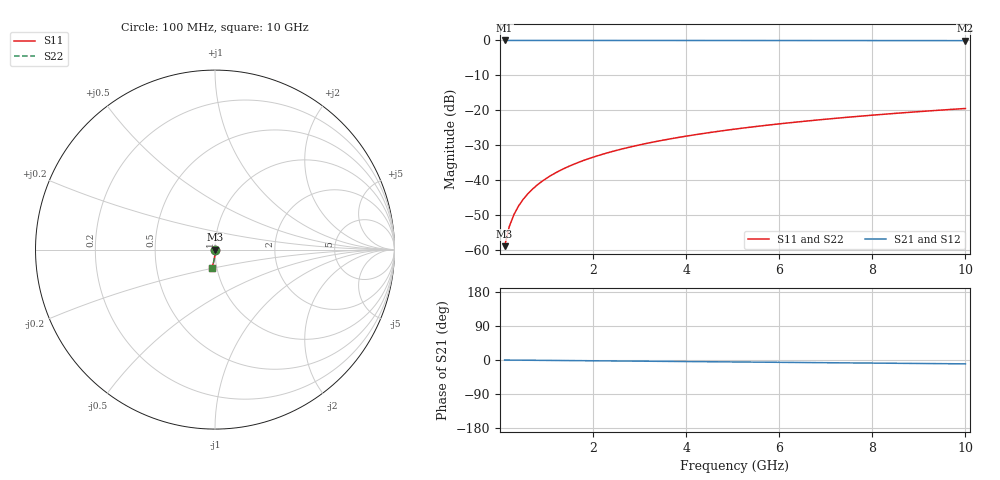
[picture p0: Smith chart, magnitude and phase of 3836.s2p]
# Hz S RI R 50.00
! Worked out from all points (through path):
!   100 points, 100 MHz to 10 GHz, reference 50 ohm
!   highest |S21| = 0.00 dB at 100 MHz (marker M1); lowest = -0.1 dB at 10 GHz (marker M2)
!   group delay of S21, straight-line fit = 2.83 ps
!   lowest |S11| = -58.8 dB at 100 MHz (marker M3), VSWR 1.00, Z = 50 - j0.107 ohm
!   |S11| at or under -10 dB: start of sweep to end of sweep
!   |S22| runs from -58.8 to -19.4 dB; largest |S21 - S12| = 0
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1e8  0.000408 -0.00107  0.9996 -0.00178  0.9996 -0.00178  0.000408 -0.00107
2e8  0.000404 -0.00215  0.9996 -0.00355  0.9996 -0.00355  0.000404 -0.00215
3e8  0.000395 -0.00322  0.9996 -0.00533  0.9996 -0.00533  0.000395 -0.00322
4e8  0.000382 -0.00429  0.9995 -0.0071  0.9995 -0.0071  0.000382 -0.00429
5e8  0.000365 -0.00536  0.9995 -0.00888  0.9995 -0.00888  0.000365 -0.00536
6e8  0.000344 -0.00643  0.9995 -0.0107  0.9995 -0.0107  0.000344 -0.00643
7e8  0.000319 -0.00751  0.9995 -0.0124  0.9995 -0.0124  0.000319 -0.00751
8e8  0.00029 -0.00858  0.9994 -0.0142  0.9994 -0.0142  0.00029 -0.00858
9e8  0.000257 -0.00965  0.9994 -0.016  0.9994 -0.016  0.000257 -0.00965
1.1e9  0.00018 -0.0118  0.9993 -0.0195  0.9993 -0.0195  0.00018 -0.0118
1.4e9  3.55e-05 -0.015  0.9991 -0.0249  0.9991 -0.0249  3.55e-05 -0.015
1.8e9  -0.000211 -0.0193  0.9988 -0.0319  0.9988 -0.0319  -0.000211 -0.0193
2.1e9  -0.000435 -0.0225  0.9986 -0.0373  0.9986 -0.0373  -0.000435 -0.0225
2.5e9  -0.000788 -0.0268  0.9982 -0.0444  0.9982 -0.0444  -0.000788 -0.0268
2.9e9  -0.0012 -0.0311  0.9977 -0.0514  0.9977 -0.0514  -0.0012 -0.0311
3.4e9  -0.00181 -0.0364  0.997 -0.0603  0.997 -0.0603  -0.00181 -0.0364
4.2e9  -0.00297 -0.0449  0.9957 -0.0744  0.9957 -0.0744  -0.00297 -0.0449
5.1e9  -0.00456 -0.0544  0.9939 -0.0903  0.9939 -0.0903  -0.00456 -0.0544
5.9e9  -0.00623 -0.0628  0.992 -0.1043  0.992 -0.1043  -0.00623 -0.0628
6.7e9  -0.00814 -0.0712  0.9898 -0.1183  0.9898 -0.1183  -0.00814 -0.0712
8.4e9  -0.013 -0.0888  0.9843 -0.1479  0.9843 -0.1479  -0.013 -0.0888
1e10  -0.0185 -0.105  0.9781 -0.1754  0.9781 -0.1754  -0.0185 -0.105
